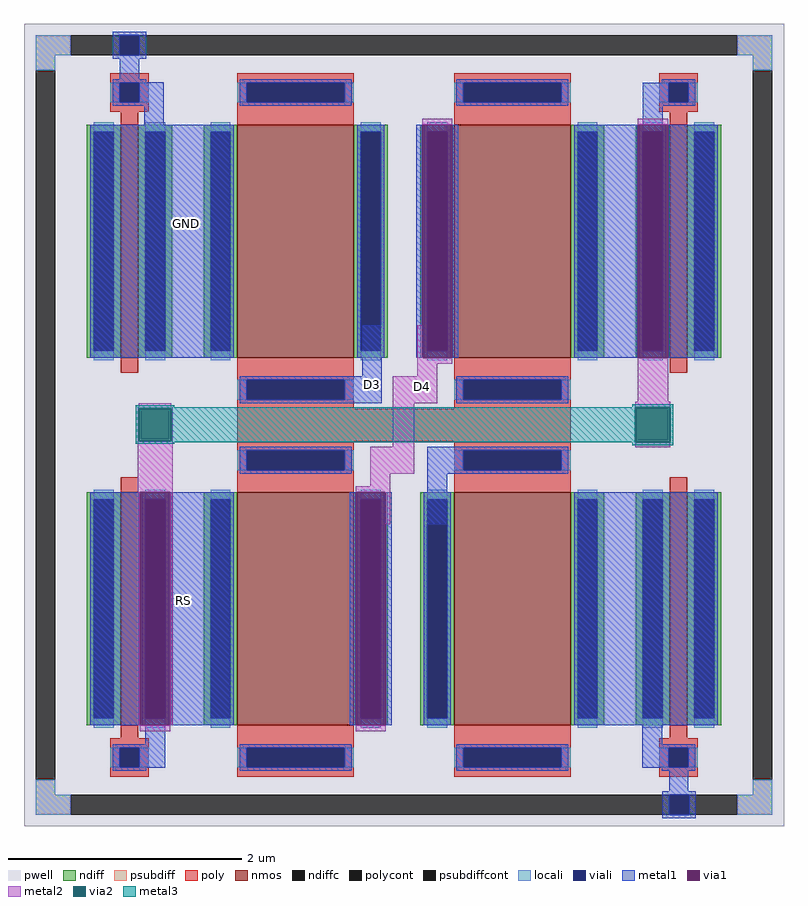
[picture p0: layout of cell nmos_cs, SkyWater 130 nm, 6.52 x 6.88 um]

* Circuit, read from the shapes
.subckt nmos_cs GND D3 D4 RS
XM1 RS RS RS GND sky130_fd_pr__nfet_01v8 w=2 l=0.15 m=2
XM2 GND GND GND GND sky130_fd_pr__nfet_01v8 w=2 l=0.15 m=2
XM3 D4 D3 RS GND sky130_fd_pr__nfet_01v8 w=2 l=1 m=2
XM4 D3 D3 GND GND sky130_fd_pr__nfet_01v8 w=2 l=1 m=2
.ends

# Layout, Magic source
magic
tech sky130A
magscale 1 2
<< pwell >>
rect -308 -716 996 661
<< psubdiff >>
rect -288 607 -228 641
rect 916 607 976 641
rect -288 581 -254 607
rect 942 581 976 607
rect -288 -662 -254 -636
rect 942 -662 976 -636
rect -288 -696 -228 -662
rect 916 -696 976 -662
<< psubdiffcont >>
rect -228 607 916 641
rect -288 -636 -254 581
rect 942 -636 976 581
rect -228 -696 916 -662
<< poly >>
rect 58 -55 630 0
<< locali >>
rect -288 607 -228 641
rect 916 607 976 641
rect -288 581 -254 607
rect -288 -662 -254 -636
rect 942 581 976 607
rect 942 -662 976 -636
rect -288 -696 -228 -662
rect 916 -696 976 -662
<< viali >>
rect -144 607 -110 641
rect 799 -696 833 -662
<< metal1 >>
rect -156 641 -98 647
rect -156 607 -144 641
rect -110 607 -98 641
rect -156 601 -98 607
rect -144 560 -110 601
rect -102 488 -68 561
rect 754 488 788 560
rect -194 88 52 488
rect 272 56 306 144
rect 365 88 375 488
rect 427 88 437 488
rect 636 88 745 488
rect 797 88 882 488
rect 244 10 306 56
rect 384 -111 446 -65
rect -194 -543 -109 -143
rect -57 -543 52 -143
rect 251 -543 261 -143
rect 313 -543 323 -143
rect 384 -198 418 -111
rect 636 -543 882 -143
rect -100 -616 -66 -543
rect 753 -616 787 -543
rect 799 -656 832 -615
rect 787 -662 845 -656
rect 787 -696 799 -662
rect 833 -696 845 -662
rect 787 -702 845 -696
<< via1 >>
rect 375 88 427 488
rect 745 88 797 488
rect -109 -543 -57 -143
rect 261 -543 313 -143
<< metal2 >>
rect 375 488 427 498
rect 367 88 375 144
rect 367 78 427 88
rect 745 488 797 498
rect 367 56 401 78
rect 325 10 401 56
rect 745 12 797 88
rect -111 3 -55 10
rect -113 1 -53 3
rect -113 -55 -111 1
rect -55 -55 -53 1
rect -113 -143 -53 -55
rect 325 -65 362 10
rect 286 -111 362 -65
rect 741 3 801 12
rect 741 -66 801 -57
rect 286 -133 320 -111
rect -113 -543 -109 -143
rect -57 -543 -53 -143
rect 261 -143 320 -133
rect 313 -198 320 -143
rect -109 -553 -57 -543
rect 261 -553 313 -543
<< via2 >>
rect -111 -55 -55 1
rect 741 -57 801 3
<< metal3 >>
rect -116 3 -50 6
rect 736 3 806 8
rect -116 1 741 3
rect -116 -55 -111 1
rect -55 -55 741 1
rect -116 -57 741 -55
rect 801 -57 806 3
rect -116 -60 -50 -57
rect 736 -62 806 -57
use sky130_fd_pr__nfet_01v8_Q6XT6P  sky130_fd_pr__nfet_01v8_Q6XT6P_0
transform 1 0 344 0 1 -343
box -344 -288 344 288
use sky130_fd_pr__nfet_01v8_Q6XT6P  sky130_fd_pr__nfet_01v8_Q6XT6P_1
transform 1 0 344 0 1 288
box -344 -288 344 288
use sky130_fd_pr__nfet_01v8_SCJFGL  sky130_fd_pr__nfet_01v8_SCJFGL_0
transform 1 0 -127 0 1 -374
box -73 -257 73 257
use sky130_fd_pr__nfet_01v8_SCJFGL  sky130_fd_pr__nfet_01v8_SCJFGL_1
transform 1 0 815 0 1 -374
box -73 -257 73 257
use sky130_fd_pr__nfet_01v8_TCR5KT  sky130_fd_pr__nfet_01v8_TCR5KT_0
transform 1 0 -127 0 1 319
box -73 -257 73 257
use sky130_fd_pr__nfet_01v8_TCR5KT  sky130_fd_pr__nfet_01v8_TCR5KT_1
transform 1 0 815 0 1 319
box -73 -257 73 257
<< labels >>
flabel metal1 -30 318 -30 318 0 FreeSans 160 0 0 0 GND
port 0 nsew
flabel metal1 290 42 290 42 0 FreeSans 160 0 0 0 D3
port 1 nsew
flabel metal2 376 38 376 38 0 FreeSans 160 0 0 0 D4
port 2 nsew
flabel metal1 -34 -328 -34 -328 0 FreeSans 160 0 0 0 RS
port 3 nsew
<< end >>

# cell sky130_fd_pr__nfet_01v8_Q6XT6P: kit device sky130_fd_pr__nfet_01v8, w 2 l 1 m 1 nf 2 diffcov 100 polycov 100 guard 0 glc 1 grc 1 gtc 1 gbc 1 tbcov 100 rlcov 100 topc 1 botc 1 poverlap 0 doverlap 0 lmin 0.15 wmin 0.42 compatible {sky130_fd_pr__nfet_01v8 sky130_fd_pr__nfet_01v8_lvt sky130_fd_bs_flash__special_sonosfet_star sky130_fd_pr__nfet_g5v0d10v5 sky130_fd_pr__nfet_05v0_nvt sky130_fd_pr__nfet_03v3_nvt} full_metal 1 viasrc 100 viadrn 100 viagate 100 viagb 0 viagr 0 viagl 0 viagt 0

# cell sky130_fd_pr__nfet_01v8_SCJFGL: kit device sky130_fd_pr__nfet_01v8, w 2 l 0.150 m 1 nf 1 diffcov 100 polycov 100 guard 0 glc 1 grc 1 gtc 1 gbc 1 tbcov 100 rlcov 100 topc 0 botc 1 poverlap 0 doverlap 1 lmin 0.15 wmin 0.42 compatible {sky130_fd_pr__nfet_01v8 sky130_fd_pr__nfet_01v8_lvt sky130_fd_bs_flash__special_sonosfet_star sky130_fd_pr__nfet_g5v0d10v5 sky130_fd_pr__nfet_05v0_nvt sky130_fd_pr__nfet_03v3_nvt} full_metal 1 viasrc 100 viadrn 100 viagate 100 viagb 0 viagr 0 viagl 0 viagt 0

# cell sky130_fd_pr__nfet_01v8_TCR5KT: kit device sky130_fd_pr__nfet_01v8, w 2 l 0.150 m 1 nf 1 diffcov 100 polycov 100 guard 0 glc 1 grc 1 gtc 1 gbc 1 tbcov 100 rlcov 100 topc 1 botc 0 poverlap 0 doverlap 1 lmin 0.15 wmin 0.42 compatible {sky130_fd_pr__nfet_01v8 sky130_fd_pr__nfet_01v8_lvt sky130_fd_bs_flash__special_sonosfet_star sky130_fd_pr__nfet_g5v0d10v5 sky130_fd_pr__nfet_05v0_nvt sky130_fd_pr__nfet_03v3_nvt} full_metal 1 viasrc 100 viadrn 100 viagate 100 viagb 0 viagr 0 viagl 0 viagt 0
